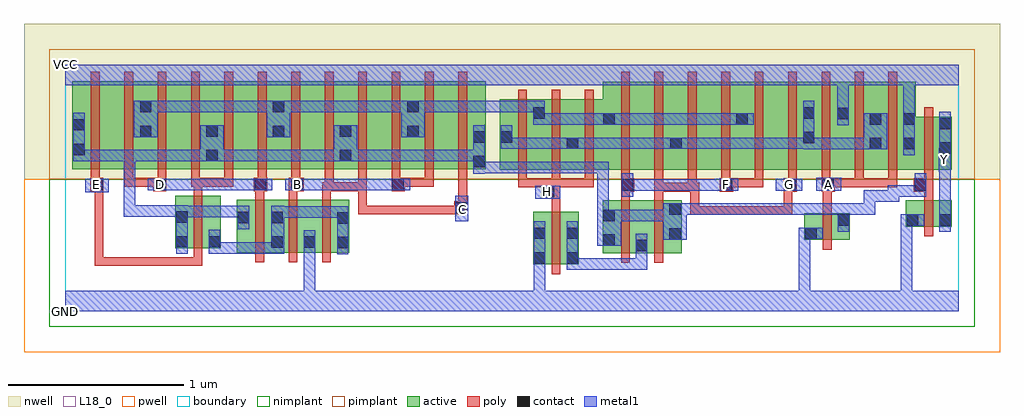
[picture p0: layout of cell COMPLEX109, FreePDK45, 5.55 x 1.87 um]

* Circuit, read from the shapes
.subckt COMPLEX109 A B C D E F G GND H VCC Y
M1 n1 E n2 VSUBS nfet w=0.3u l=0.05u
M2 n1 D n2 VSUBS nfet w=0.3u l=0.05u
M3 GND B n1 VSUBS nfet w=0.3u l=0.05u
M4 n1 C GND VSUBS nfet w=0.3u l=0.05u
M5 n3 H GND VSUBS nfet w=0.3u l=0.05u
M6 n3 F n2 VSUBS nfet w=0.3u l=0.05u
M7 n2 G n3 VSUBS nfet w=0.3u l=0.05u
M8 n2 A GND VSUBS nfet w=0.15u l=0.05u
M9 Y n2 GND VSUBS nfet w=0.15u l=0.05u
M10 n4 E n2 n5 pfet w=0.5u l=0.05u
M11 n6 D n4 n5 pfet w=0.5u l=0.05u
M12 n7 D n6 n5 pfet w=0.5u l=0.05u
M13 n2 E n7 n5 pfet w=0.5u l=0.05u
M14 n8 E n2 n5 pfet w=0.5u l=0.05u
M15 n6 D n8 n5 pfet w=0.5u l=0.05u
M16 n9 B n6 n5 pfet w=0.5u l=0.05u
M17 n2 C n9 n5 pfet w=0.5u l=0.05u
M18 n10 C n2 n5 pfet w=0.5u l=0.05u
M19 n6 B n10 n5 pfet w=0.5u l=0.05u
M20 n11 B n6 n5 pfet w=0.5u l=0.05u
M21 n2 C n11 n5 pfet w=0.5u l=0.05u
M22 n6 H n12 n5 pfet w=0.4u l=0.05u m=3
M23 n13 F n6 n5 pfet w=0.5u l=0.05u
M24 n12 G n13 n5 pfet w=0.5u l=0.05u
M25 n14 G n12 n5 pfet w=0.5u l=0.05u
M26 n6 F n14 n5 pfet w=0.5u l=0.05u
M27 n15 F n6 n5 pfet w=0.5u l=0.05u
M28 n12 G n15 n5 pfet w=0.5u l=0.05u
M29 VCC A n12 n5 pfet w=0.5u l=0.05u m=3
M30 Y n2 VCC n5 pfet w=0.3u l=0.05u
.ends

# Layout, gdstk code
import gdstk
lib = gdstk.Library(unit=1e-6, precision=1e-09)
def R(c, l, rs):  # rectangles x0, y0, x1, y1
    for r in rs: c.add(gdstk.rectangle(r[:2], r[2:], *l))
def A(c, l, x, y, w, h, nx, ny, dx, dy):  # array of equal rectangles
    R(c, l, [(x+i*dx, y+j*dy, x+i*dx+w, y+j*dy+h) for i in range(nx) for j in range(ny)])
active = (1, 0)
pwell = (2, 0)
nwell = (3, 0)
nimplant = (4, 0)
pimplant = (5, 0)
poly = (9, 0)
contact = (10, 0)
metal1 = (11, 0)
L18_0 = (18, 0)
boundary = (235, 0)

complex109 = lib.new_cell('COMPLEX109')
A(complex109, active, 3.81, 0.807, 0.075, 0.393, 3, 1, 0.38, 0)
R(complex109, active, [(2.66,0.265,2.92,0.565), (2.66,0.265,2.735,0.565), (2.845,0.265,2.92,0.565), (3.055,0.33,3.315,0.63), (3.24,0.33,3.505,0.63), (3.24,0.33,3.315,0.497), (0.975,0.332,1.24,0.632), (0.975,0.332,1.05,0.632), (1.165,0.332,1.425,0.632), (1.165,0.332,1.24,0.632), (1.35,0.332,1.615,0.632), (1.35,0.332,1.425,0.497), (1.54,0.332,1.615,0.632), (3.055,0.332,3.13,0.63), (0.625,0.357,0.885,0.657), (0.625,0.357,0.7,0.657), (0.81,0.357,0.885,0.657), (3.43,0.357,3.505,0.63), (4.202,0.405,4.277,0.555), (4.202,0.405,4.462,0.555), (4.387,0.48,4.462,0.555), (4.78,0.48,4.855,0.63), (4.78,0.48,5.04,0.63), (4.965,0.48,5.04,0.63), (2.47,0.805,2.545,1.07), (2.47,0.805,2.73,1.205), (2.655,0.805,2.922,1.205), (2.847,0.805,3.13,1.205), (2.847,0.805,2.922,1.07), (3.055,0.805,3.28,1.305), (3.28,0.805,3.51,1.305), (3.435,0.805,3.66,1.305), (3.66,0.805,3.885,1.305), (3.81,0.805,4.04,1.305), (4.04,0.805,4.265,1.305), (4.19,0.805,4.46,1.305), (4.385,0.805,4.645,1.305), (4.57,0.805,4.835,1.305), (4.76,0.805,5.04,1.105), (4.76,0.805,4.835,1.305), (4.965,0.805,5.04,1.105), (0.04,0.807,0.265,1.307), (0.04,0.807,0.145,1.2), (0.265,0.807,0.495,1.307), (0.42,0.807,0.495,1.2), (0.42,0.807,0.645,1.307), (0.645,0.807,0.872,1.307), (0.797,0.807,0.872,1.07), (0.797,0.807,1.025,1.307), (1.025,0.807,1.25,1.307), (1.175,0.807,1.25,1.2), (1.175,0.807,1.405,1.307), (1.405,0.807,1.63,1.307), (1.555,0.807,1.785,1.307), (1.555,0.807,1.63,1.07), (1.785,0.807,2.015,1.307), (1.94,0.807,2.015,1.2), (1.94,0.807,2.165,1.307), (2.165,0.807,2.39,1.307), (2.315,0.807,2.39,1.07), (3.435,0.807,3.51,1.07), (4.385,0.807,4.46,1.305), (2.655,0.832,2.73,1.2), (3.055,0.907,3.13,1.2)])
R(complex109, pwell, [(-0.235,-0.235,5.315,0.75)])
R(complex109, nwell, [(-0.235,0.75,5.315,1.635)])
R(complex109, nimplant, [(-0.09,-0.09,5.17,0.75)])
R(complex109, pimplant, [(-0.09,0.75,5.17,1.49)])
A(complex109, poly, 1.08, 0.277, 0.05, 0.41, 3, 1, 0.19, 0)
A(complex109, poly, 1.08, 0.637, 0.05, 0.095, 3, 1, 0.19, 0)
A(complex109, poly, 2.575, 0.705, 0.05, 0.095, 3, 1, 0.19, 0)
A(complex109, poly, 3.73, 0.705, 0.05, 0.095, 6, 1, 0.19, 0)
A(complex109, poly, 0.145, 0.707, 0.05, 0.095, 7, 1, 0.19, 0)
A(complex109, poly, 2.575, 0.75, 0.05, 0.51, 3, 1, 0.19, 0)
A(complex109, poly, 3.16, 0.75, 0.05, 0.61, 9, 1, 0.19, 0)
A(complex109, poly, 0.145, 0.752, 0.05, 0.61, 12, 1, 0.19, 0)
R(complex109, poly, [(2.765,0.21,2.815,0.62), (0.167,0.257,0.217,0.307), (0.167,0.257,0.217,0.307), (0.167,0.257,0.217,0.307), (0.167,0.257,0.417,0.307), (0.167,0.257,0.217,0.732), (0.367,0.257,0.417,0.307), (0.367,0.257,0.417,0.307), (0.367,0.257,0.417,0.307), (0.367,0.257,0.55,0.307), (0.5,0.257,0.55,0.307), (0.5,0.257,0.78,0.307), (0.73,0.257,0.78,0.352), (0.73,0.257,0.78,0.307), (0.73,0.257,0.78,0.307), (0.73,0.257,0.78,0.307), (3.16,0.275,3.21,0.685), (3.35,0.275,3.4,0.685), (0.73,0.302,0.78,0.712), (4.307,0.35,4.357,0.61), (4.885,0.425,4.935,0.685), (3.555,0.547,3.605,0.597), (3.555,0.547,3.605,0.597), (3.555,0.547,3.605,0.597), (3.555,0.547,3.605,0.597), (3.555,0.547,3.605,0.597), (3.555,0.547,3.605,0.73), (3.555,0.547,3.837,0.597), (3.787,0.547,3.837,0.597), (3.787,0.547,3.837,0.597), (3.787,0.547,3.837,0.597), (3.787,0.547,4.002,0.597), (3.952,0.547,4.002,0.597), (3.952,0.547,4.135,0.597), (4.085,0.547,4.135,0.597), (4.085,0.547,4.135,0.597), (4.085,0.547,4.135,0.597), (4.085,0.547,4.135,0.597), (4.085,0.547,4.135,0.597), (4.085,0.547,4.135,0.73), (1.665,0.55,1.715,0.6), (1.665,0.55,1.715,0.6), (1.665,0.55,1.715,0.6), (1.665,0.55,1.847,0.6), (1.665,0.55,1.715,0.732), (1.797,0.55,1.847,0.6), (1.797,0.55,1.847,0.6), (1.797,0.55,1.847,0.6), (1.797,0.55,2.062,0.6), (2.012,0.55,2.062,0.6), (2.012,0.55,2.062,0.6), (2.012,0.55,2.062,0.6), (2.012,0.55,2.262,0.6), (2.212,0.55,2.262,0.6), (2.212,0.55,2.262,0.6), (2.212,0.55,2.262,0.6), (2.212,0.55,2.262,0.6), (2.212,0.55,2.287,0.625), (4.307,0.56,4.357,0.73), (2.765,0.57,2.815,0.692), (2.235,0.575,2.285,0.802), (3.16,0.635,3.21,0.73), (3.35,0.635,3.4,0.73), (4.885,0.635,4.935,0.73), (2.71,0.642,2.815,0.755), (0.73,0.662,0.78,0.757), (3.16,0.68,3.235,0.755), (3.35,0.68,3.4,0.73), (3.35,0.68,3.4,0.8), (3.35,0.68,3.415,0.73), (3.365,0.68,3.415,0.73), (3.365,0.68,3.59,0.73), (3.54,0.68,3.59,0.8), (3.54,0.68,3.605,0.73), (3.722,0.68,3.797,0.755), (4.085,0.68,4.16,0.755), (4.3,0.68,4.375,0.755), (4.825,0.68,4.935,0.755), (0.142,0.682,0.217,0.757), (0.167,0.682,0.217,0.732), (0.167,0.682,0.217,0.732), (0.167,0.682,0.217,0.732), (0.167,0.682,0.217,0.732), (0.167,0.682,0.217,0.732), (0.167,0.682,0.217,0.732), (0.5,0.682,0.575,0.757), (1.072,0.682,1.147,0.757), (1.27,0.682,1.355,0.757), (1.46,0.682,1.525,0.732), (1.475,0.682,1.715,0.732), (1.475,0.682,1.525,0.732), (1.475,0.682,1.525,0.732), (1.475,0.682,1.525,0.802), (1.665,0.682,1.715,0.732), (1.665,0.682,1.715,0.732), (1.665,0.682,1.715,0.732), (1.665,0.682,1.715,0.802), (1.855,0.682,1.93,0.757), (2.575,0.705,2.625,0.755), (2.575,0.705,2.625,0.755), (2.575,0.705,2.625,0.755), (2.575,0.705,2.76,0.755), (2.765,0.705,3.005,0.755), (2.765,0.705,2.815,0.755), (2.765,0.705,2.815,0.755), (2.955,0.705,3.005,0.755), (3.16,0.705,3.21,0.8), (3.747,0.705,3.97,0.755), (3.92,0.705,3.97,0.755), (3.92,0.705,3.97,0.755), (3.92,0.705,3.97,0.755), (4.325,0.705,4.375,0.755), (4.325,0.705,4.375,0.755), (4.325,0.705,4.54,0.755), (4.49,0.705,4.73,0.755), (4.49,0.705,4.54,0.755), (4.49,0.705,4.54,0.755), (4.49,0.705,4.54,0.755), (4.68,0.705,4.73,0.755), (4.885,0.705,4.935,0.8), (0.335,0.707,0.385,0.757), (0.335,0.707,0.55,0.757), (0.5,0.707,0.55,0.757), (0.5,0.707,0.55,0.757), (0.715,0.707,0.78,0.757), (0.73,0.707,0.955,0.757), (0.905,0.707,0.955,0.757), (0.905,0.707,0.955,0.757), (0.905,0.707,0.955,0.757), (1.855,0.707,1.905,0.802), (1.88,0.707,1.93,0.757), (1.88,0.707,1.93,0.757), (1.88,0.707,2.095,0.757), (2.045,0.707,2.095,0.802), (2.045,0.707,2.095,0.757), (4.885,0.75,4.935,1.16)])
R(complex109, contact, [(2.665,0.27,2.73,0.335), (2.85,0.27,2.915,0.335), (3.245,0.34,3.31,0.405), (1.545,0.357,1.61,0.422), (1.17,0.36,1.235,0.425), (1.355,0.36,1.42,0.425), (0.63,0.362,0.695,0.427), (0.815,0.362,0.88,0.427), (3.06,0.372,3.125,0.437), (3.435,0.407,3.5,0.472), (2.665,0.41,2.73,0.475), (2.85,0.41,2.915,0.475), (4.207,0.41,4.272,0.475), (4.392,0.485,4.457,0.55), (4.785,0.485,4.85,0.55), (4.97,0.485,5.035,0.55), (1.545,0.497,1.61,0.562), (0.98,0.5,1.045,0.565), (1.17,0.5,1.235,0.565), (0.63,0.502,0.695,0.567), (3.06,0.512,3.125,0.577), (3.435,0.547,3.5,0.612), (2.217,0.555,2.282,0.62), (2.715,0.647,2.78,0.712), (3.165,0.685,3.23,0.75), (3.727,0.685,3.792,0.75), (4.09,0.685,4.155,0.75), (4.305,0.685,4.37,0.75), (4.83,0.685,4.895,0.75), (0.147,0.687,0.212,0.752), (0.505,0.687,0.57,0.752), (1.077,0.687,1.142,0.752), (1.285,0.687,1.35,0.752), (1.86,0.687,1.925,0.752), (2.32,0.817,2.385,0.882), (0.802,0.852,0.867,0.917), (1.56,0.852,1.625,0.917), (0.045,0.887,0.11,0.952), (4.97,0.895,5.035,0.96), (4.575,0.92,4.64,0.985), (4.765,0.92,4.83,0.985), (2.852,0.922,2.917,0.987), (3.44,0.922,3.505,0.987), (4.195,0.955,4.26,1.02), (2.32,0.957,2.385,1.022), (2.475,0.957,2.54,1.022), (0.425,0.99,0.49,1.055), (1.18,0.99,1.245,1.055), (1.945,0.99,2.01,1.055), (0.802,0.992,0.867,1.057), (1.56,0.992,1.625,1.057), (0.045,1.027,0.11,1.092), (4.97,1.035,5.035,1.1), (3.06,1.06,3.125,1.125), (3.815,1.06,3.88,1.125), (4.575,1.06,4.64,1.125), (4.765,1.06,4.83,1.125), (4.39,1.092,4.455,1.157), (2.66,1.095,2.725,1.16), (4.195,1.095,4.26,1.16), (0.425,1.13,0.49,1.195), (1.18,1.13,1.245,1.195), (1.945,1.13,2.01,1.195)])
R(complex109, metal1, [(0,0,5.08,0.115), (1.355,0.05,1.42,0.39), (2.665,0.05,2.73,0.115), (2.665,0.05,2.73,0.115), (2.665,0.05,2.73,0.115), (2.665,0.05,2.73,0.115), (2.665,0.05,2.73,0.3), (4.172,0.05,4.237,0.475), (4.75,0.05,4.815,0.115), (4.75,0.05,4.815,0.115), (4.75,0.05,4.815,0.115), (4.75,0.05,4.815,0.115), (4.75,0.05,4.815,0.55), (2.665,0.235,2.73,0.51), (2.85,0.235,2.915,0.51), (2.85,0.235,3.02,0.3), (2.955,0.235,3.02,0.3), (2.955,0.235,3.172,0.3), (3.107,0.235,3.172,0.3), (3.107,0.235,3.31,0.3), (3.245,0.235,3.31,0.37), (3.245,0.305,3.31,0.37), (3.245,0.305,3.31,0.44), (1.545,0.322,1.61,0.597), (1.17,0.325,1.245,0.6), (1.355,0.325,1.42,0.39), (1.355,0.325,1.42,0.39), (1.355,0.325,1.42,0.39), (1.355,0.325,1.42,0.39), (1.355,0.325,1.42,0.46), (0.63,0.327,0.695,0.602), (0.815,0.327,0.88,0.462), (0.815,0.327,0.97,0.392), (0.905,0.327,0.97,0.392), (0.905,0.327,1.072,0.392), (1.007,0.327,1.072,0.392), (1.007,0.327,1.107,0.392), (1.042,0.327,1.107,0.392), (1.042,0.327,1.235,0.392), (3.025,0.372,3.16,0.577), (3.4,0.407,3.535,0.612), (4.172,0.41,4.237,0.475), (4.172,0.41,4.237,0.475), (4.172,0.41,4.237,0.475), (4.172,0.41,4.237,0.475), (4.172,0.41,4.237,0.475), (4.172,0.41,4.237,0.475), (4.172,0.41,4.307,0.475), (4.392,0.45,4.457,0.612), (4.97,0.45,5.035,0.585), (0.98,0.465,1.045,0.6), (4.75,0.485,4.815,0.55), (4.75,0.485,4.815,0.55), (4.75,0.485,4.885,0.55), (2.217,0.512,2.292,0.655), (3.025,0.512,3.09,0.85), (3.095,0.512,3.16,0.577), (3.095,0.512,3.16,0.577), (3.095,0.512,3.327,0.577), (3.262,0.512,3.327,0.577), (3.262,0.512,3.465,0.577), (3.4,0.512,3.465,0.577), (3.4,0.512,3.465,0.577), (4.97,0.52,5.035,0.857), (1.18,0.532,1.245,0.597), (1.18,0.532,1.245,0.597), (1.18,0.532,1.417,0.597), (1.352,0.532,1.417,0.597), (1.352,0.532,1.525,0.597), (1.46,0.532,1.525,0.597), (1.46,0.532,1.61,0.597), (0.63,0.535,0.832,0.6), (0.767,0.535,0.832,0.6), (0.767,0.535,0.907,0.6), (0.842,0.535,0.907,0.6), (0.842,0.535,0.97,0.6), (0.905,0.535,0.97,0.6), (0.905,0.535,1.045,0.6), (0.332,0.537,0.397,0.602), (0.332,0.537,0.397,0.602), (0.332,0.537,0.397,0.602), (0.332,0.537,0.695,0.602), (0.332,0.537,0.397,0.917), (3.47,0.547,3.607,0.612), (3.542,0.547,3.607,0.612), (3.542,0.547,3.707,0.612), (3.642,0.547,3.707,0.612), (3.642,0.547,3.757,0.612), (3.692,0.547,3.757,0.612), (3.692,0.547,3.962,0.612), (3.897,0.547,3.962,0.612), (3.897,0.547,3.962,0.612), (3.897,0.547,3.962,0.612), (3.897,0.547,4.1,0.612), (4.035,0.547,4.1,0.612), (4.035,0.547,4.1,0.612), (4.035,0.547,4.1,0.612), (4.035,0.547,4.237,0.612), (4.172,0.547,4.237,0.612), (4.172,0.547,4.237,0.612), (4.172,0.547,4.237,0.612), (4.172,0.547,4.457,0.612), (4.392,0.547,4.605,0.612), (4.54,0.547,4.605,0.612), (4.54,0.547,4.605,0.612), (4.54,0.547,4.605,0.687), (4.54,0.622,4.742,0.687), (4.677,0.622,4.742,0.687), (4.677,0.622,4.742,0.687), (4.677,0.622,4.742,0.687), (4.677,0.622,4.742,0.715), (2.672,0.64,2.815,0.712), (3.165,0.65,3.23,0.785), (4.677,0.65,4.742,0.715), (4.677,0.65,4.895,0.715), (4.83,0.65,4.895,0.785), (0.112,0.675,0.247,0.752), (3.165,0.685,3.31,0.75), (3.245,0.685,3.31,0.75), (3.245,0.685,3.465,0.75), (3.4,0.685,3.465,0.75), (3.4,0.685,3.465,0.75), (3.4,0.685,3.465,0.75), (3.4,0.685,3.607,0.75), (3.542,0.685,3.607,0.75), (3.542,0.685,3.707,0.75), (3.642,0.685,3.707,0.75), (3.642,0.685,3.757,0.75), (3.692,0.685,3.827,0.752), (4.04,0.685,4.19,0.752), (4.27,0.685,4.412,0.757), (0.47,0.687,0.607,0.752), (0.542,0.687,0.662,0.752), (0.597,0.687,0.662,0.752), (0.597,0.687,0.832,0.752), (0.767,0.687,0.832,0.752), (0.767,0.687,0.832,0.752), (0.767,0.687,0.832,0.752), (0.767,0.687,0.97,0.752), (0.905,0.687,0.97,0.752), (0.905,0.687,1.072,0.752), (1.007,0.687,1.072,0.752), (1.007,0.687,1.107,0.752), (1.042,0.687,1.177,0.752), (1.25,0.687,1.387,0.752), (1.322,0.687,1.417,0.752), (1.352,0.687,1.417,0.752), (1.352,0.687,1.555,0.752), (1.49,0.687,1.555,0.752), (1.49,0.687,1.555,0.752), (1.49,0.687,1.555,0.752), (1.49,0.687,1.692,0.752), (1.627,0.687,1.692,0.752), (1.627,0.687,1.837,0.752), (1.772,0.687,1.837,0.752), (1.772,0.687,1.89,0.752), (1.825,0.687,1.96,0.752), (2.32,0.782,2.385,1.057), (2.32,0.785,2.587,0.85), (2.522,0.785,2.587,0.85), (2.522,0.785,2.587,0.85), (2.522,0.785,2.587,0.85), (2.522,0.785,2.725,0.85), (2.66,0.785,2.725,0.85), (2.66,0.785,2.725,0.85), (2.66,0.785,2.725,0.85), (2.66,0.785,2.952,0.85), (2.887,0.785,2.952,0.85), (2.887,0.785,2.952,0.85), (2.887,0.785,2.952,0.85), (2.887,0.785,3.02,0.85), (2.955,0.785,3.02,0.85), (2.955,0.785,3.09,0.85), (3.025,0.785,3.09,0.85), (4.967,0.792,5.035,0.927), (0.045,0.852,0.11,0.917), (0.045,0.852,0.11,0.917), (0.045,0.852,0.11,1.127), (0.045,0.852,0.26,0.917), (0.195,0.852,0.26,0.917), (0.195,0.852,0.26,0.917), (0.195,0.852,0.26,0.917), (0.195,0.852,0.397,0.917), (0.332,0.852,0.397,0.917), (0.332,0.852,0.397,0.917), (0.332,0.852,0.397,0.917), (0.332,0.852,0.397,0.917), (0.332,0.852,0.397,0.917), (0.332,0.852,0.695,0.917), (0.63,0.852,0.695,0.917), (0.63,0.852,0.832,0.917), (0.767,0.852,0.832,0.917), (0.767,0.852,0.832,0.917), (0.767,0.852,0.902,1.057), (0.837,0.852,0.97,0.917), (0.905,0.852,0.97,0.917), (0.905,0.852,1.072,0.917), (1.007,0.852,1.072,0.917), (1.007,0.852,1.107,0.917), (1.042,0.852,1.107,0.917), (1.042,0.852,1.245,0.917), (1.18,0.852,1.245,0.917), (1.18,0.852,1.245,0.917), (1.18,0.852,1.245,0.917), (1.18,0.852,1.417,0.917), (1.352,0.852,1.417,0.917), (1.352,0.852,1.525,0.917), (1.46,0.852,1.525,0.917), (1.46,0.852,1.59,0.917), (1.525,0.852,1.66,1.057), (1.595,0.852,1.692,0.917), (1.627,0.852,1.692,0.917), (1.627,0.852,1.83,0.917), (1.765,0.852,1.83,0.917), (1.765,0.852,1.83,0.917), (1.765,0.852,1.83,0.917), (1.765,0.852,2.045,0.917), (1.98,0.852,2.045,0.917), (1.98,0.852,2.045,0.917), (1.98,0.852,2.045,0.917), (1.98,0.852,2.182,0.917), (2.117,0.852,2.182,0.917), (2.117,0.852,2.385,0.917), (2.32,0.852,2.385,0.917), (2.32,0.852,2.385,0.917), (4.97,0.86,5.035,0.925), (4.97,0.86,5.035,1.135), (4.765,0.885,4.83,1.16), (4.195,0.92,4.26,1.195), (4.195,0.92,4.397,0.985), (4.332,0.92,4.397,0.985), (4.332,0.92,4.397,0.985), (4.332,0.92,4.397,0.985), (4.332,0.92,4.605,0.985), (4.54,0.92,4.605,0.985), (4.54,0.92,4.605,0.985), (4.54,0.92,4.675,1.125), (2.475,0.922,2.54,0.987), (2.475,0.922,2.54,0.987), (2.475,0.922,2.54,1.057), (2.475,0.922,2.725,0.987), (2.66,0.922,2.725,0.987), (2.66,0.922,2.882,0.987), (2.817,0.922,2.882,0.987), (2.817,0.922,2.882,0.987), (2.817,0.922,2.952,0.987), (2.887,0.922,3.022,0.987), (2.957,0.922,3.022,0.987), (2.957,0.922,3.16,0.987), (3.095,0.922,3.16,0.987), (3.095,0.922,3.16,0.987), (3.095,0.922,3.16,0.987), (3.095,0.922,3.31,0.987), (3.245,0.922,3.31,0.987), (3.245,0.922,3.47,0.987), (3.405,0.922,3.47,0.987), (3.405,0.922,3.47,0.987), (3.405,0.922,3.54,0.987), (3.475,0.922,3.607,0.987), (3.542,0.922,3.607,0.987), (3.542,0.922,3.707,0.987), (3.642,0.922,3.707,0.987), (3.642,0.922,3.745,0.987), (3.68,0.922,3.745,0.987), (3.68,0.922,3.962,0.987), (3.897,0.922,3.962,0.987), (3.897,0.922,3.962,0.987), (3.897,0.922,3.962,0.987), (3.897,0.922,4.1,0.987), (4.035,0.922,4.1,0.987), (4.035,0.922,4.1,0.987), (4.035,0.922,4.1,0.987), (4.035,0.922,4.26,0.987), (0.39,0.99,0.525,1.195), (1.145,0.99,1.28,1.195), (1.91,0.99,2.045,1.195), (4.39,1.057,4.455,1.192), (2.66,1.06,2.725,1.195), (2.66,1.06,2.862,1.125), (2.797,1.06,2.862,1.125), (2.797,1.06,2.862,1.125), (2.797,1.06,2.862,1.125), (2.797,1.06,3.02,1.125), (2.955,1.06,3.02,1.125), (2.955,1.06,3.09,1.125), (3.025,1.06,3.16,1.125), (3.095,1.06,3.327,1.125), (3.262,1.06,3.327,1.125), (3.262,1.06,3.327,1.125), (3.262,1.06,3.327,1.125), (3.262,1.06,3.465,1.125), (3.4,1.06,3.465,1.125), (3.4,1.06,3.465,1.125), (3.4,1.06,3.465,1.125), (3.4,1.06,3.607,1.125), (3.542,1.06,3.607,1.125), (3.542,1.06,3.707,1.125), (3.642,1.06,3.707,1.125), (3.642,1.06,3.745,1.125), (3.68,1.06,3.745,1.125), (3.68,1.06,3.845,1.125), (3.78,1.06,3.915,1.125), (4.765,1.095,4.83,1.35), (4.39,1.127,4.455,1.35), (0.46,1.13,0.525,1.195), (0.46,1.13,0.525,1.195), (0.46,1.13,0.695,1.195), (0.63,1.13,0.695,1.195), (0.63,1.13,0.832,1.195), (0.767,1.13,0.832,1.195), (0.767,1.13,0.832,1.195), (0.767,1.13,0.832,1.195), (0.767,1.13,0.97,1.195), (0.905,1.13,0.97,1.195), (0.905,1.13,1.072,1.195), (1.007,1.13,1.072,1.195), (1.007,1.13,1.107,1.195), (1.042,1.13,1.107,1.195), (1.042,1.13,1.21,1.195), (1.215,1.13,1.28,1.195), (1.215,1.13,1.28,1.195), (1.215,1.13,1.417,1.195), (1.352,1.13,1.417,1.195), (1.352,1.13,1.555,1.195), (1.49,1.13,1.555,1.195), (1.49,1.13,1.692,1.195), (1.627,1.13,1.692,1.195), (1.627,1.13,1.692,1.195), (1.627,1.13,1.692,1.195), (1.627,1.13,1.837,1.195), (1.772,1.13,1.837,1.195), (1.772,1.13,1.837,1.195), (1.772,1.13,1.837,1.195), (1.772,1.13,1.975,1.195), (1.98,1.13,2.045,1.195), (1.98,1.13,2.045,1.195), (1.98,1.13,2.182,1.195), (2.117,1.13,2.182,1.195), (2.117,1.13,2.32,1.195), (2.255,1.13,2.32,1.195), (2.255,1.13,2.32,1.195), (2.255,1.13,2.32,1.195), (2.255,1.13,2.522,1.195), (2.457,1.13,2.522,1.195), (2.457,1.13,2.522,1.195), (2.457,1.13,2.522,1.195), (2.457,1.13,2.725,1.195), (0,1.285,5.08,1.4)])
R(complex109, L18_0, [(0,0,5.08,0.115), (1.355,0.05,1.42,0.39), (2.665,0.05,2.73,0.115), (2.665,0.05,2.73,0.115), (2.665,0.05,2.73,0.115), (2.665,0.05,2.73,0.115), (2.665,0.05,2.73,0.3), (4.172,0.05,4.237,0.475), (4.75,0.05,4.815,0.115), (4.75,0.05,4.815,0.115), (4.75,0.05,4.815,0.115), (4.75,0.05,4.815,0.115), (4.75,0.05,4.815,0.55), (2.665,0.235,2.73,0.51), (1.355,0.325,1.42,0.39), (1.355,0.325,1.42,0.39), (1.355,0.325,1.42,0.39), (1.355,0.325,1.42,0.39), (1.355,0.325,1.42,0.46), (4.172,0.41,4.237,0.475), (4.172,0.41,4.237,0.475), (4.172,0.41,4.237,0.475), (4.172,0.41,4.237,0.475), (4.172,0.41,4.237,0.475), (4.172,0.41,4.237,0.475), (4.172,0.41,4.307,0.475), (4.97,0.45,5.035,0.585), (4.75,0.485,4.815,0.55), (4.75,0.485,4.815,0.55), (4.75,0.485,4.885,0.55), (2.217,0.512,2.292,0.655), (4.97,0.52,5.035,0.857), (2.227,0.547,2.292,0.612), (2.672,0.64,2.815,0.712), (2.707,0.647,2.772,0.712), (3.165,0.65,3.23,0.785), (0.112,0.675,0.247,0.752), (3.165,0.685,3.31,0.75), (3.245,0.685,3.31,0.75), (3.245,0.685,3.465,0.75), (3.4,0.685,3.465,0.75), (3.4,0.685,3.465,0.75), (3.4,0.685,3.465,0.75), (3.4,0.685,3.607,0.75), (3.542,0.685,3.607,0.75), (3.542,0.685,3.707,0.75), (3.642,0.685,3.707,0.75), (3.642,0.685,3.757,0.75), (3.692,0.685,3.827,0.752), (4.04,0.685,4.19,0.752), (4.27,0.685,4.412,0.757), (0.147,0.687,0.212,0.752), (0.47,0.687,0.607,0.752), (0.507,0.687,0.572,0.752), (0.542,0.687,0.662,0.752), (0.597,0.687,0.662,0.752), (0.597,0.687,0.832,0.752), (0.767,0.687,0.832,0.752), (0.767,0.687,0.832,0.752), (0.767,0.687,0.832,0.752), (0.767,0.687,0.97,0.752), (0.905,0.687,0.97,0.752), (0.905,0.687,1.072,0.752), (1.007,0.687,1.072,0.752), (1.007,0.687,1.107,0.752), (1.042,0.687,1.177,0.752), (1.25,0.687,1.387,0.752), (1.287,0.687,1.352,0.752), (1.322,0.687,1.417,0.752), (1.352,0.687,1.417,0.752), (1.352,0.687,1.555,0.752), (1.49,0.687,1.555,0.752), (1.49,0.687,1.555,0.752), (1.49,0.687,1.555,0.752), (1.49,0.687,1.692,0.752), (1.627,0.687,1.692,0.752), (1.627,0.687,1.837,0.752), (1.772,0.687,1.837,0.752), (1.772,0.687,1.89,0.752), (1.825,0.687,1.96,0.752), (3.727,0.687,3.792,0.752), (4.087,0.687,4.152,0.752), (4.307,0.687,4.372,0.752), (4.967,0.792,5.035,0.927), (4.967,0.827,5.032,0.892), (4.97,0.86,5.035,0.925), (4.97,0.86,5.035,1.135), (4.765,0.885,4.83,1.16), (4.39,1.057,4.455,1.192), (4.765,1.095,4.83,1.35), (4.39,1.127,4.455,1.35), (0,1.285,5.08,1.4)])
R(complex109, boundary, [(0,0,5.08,1.4)])
complex109.add(gdstk.Label('A', (4.34,0.72), layer=11, texttype=0))
complex109.add(gdstk.Label('B', (1.32,0.72), layer=11, texttype=0))
complex109.add(gdstk.Label('C', (2.26,0.58), layer=11, texttype=0))
complex109.add(gdstk.Label('D', (0.54,0.72), layer=11, texttype=0))
complex109.add(gdstk.Label('E', (0.18,0.72), layer=11, texttype=0))
complex109.add(gdstk.Label('F', (3.76,0.72), layer=11, texttype=0))
complex109.add(gdstk.Label('G', (4.12,0.72), layer=11, texttype=0))
complex109.add(gdstk.Label('H', (2.74,0.68), layer=11, texttype=0))
complex109.add(gdstk.Label('Y', (5,0.86), layer=11, texttype=0))
complex109.add(gdstk.Label('VCC', (0,1.4), layer=11, texttype=0))
complex109.add(gdstk.Label('GND', (0,0), layer=11, texttype=0))

lib.write_gds('COMPLEX109.gds')
